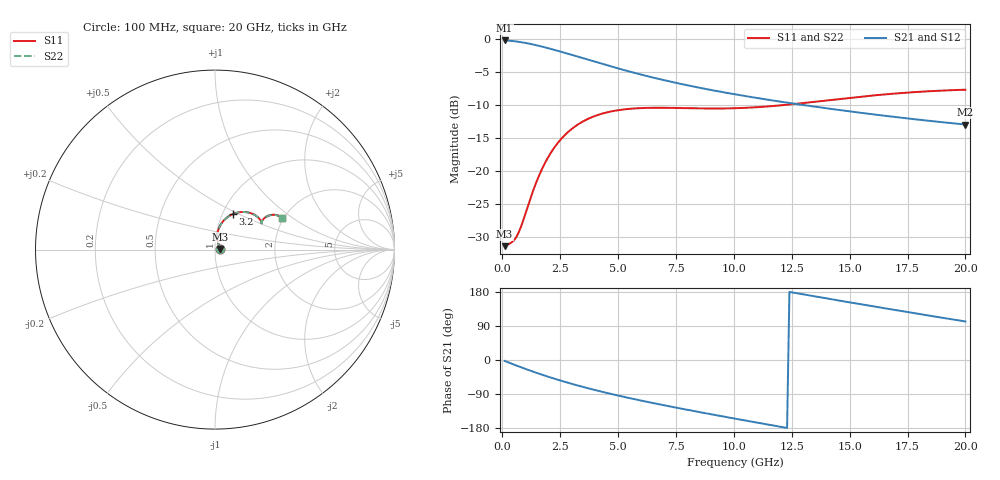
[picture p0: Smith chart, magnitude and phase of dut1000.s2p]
! Touchstone file exported from HFSS 2024.1.0
!  File:  C:/UserFiles/LocalFiles/RDL_TSV_Batchsim/temp_RDL_TSV_1000_1780076409.aedt
!  Generated:  01:56:41 AM May 30, 2026
!  Design:  RDL_TSV
!  Project:  temp_RDL_TSV_1000_1780076409
!  Setup:  Setup1
!  Solution:  Sweep
! Variables:
!  dtsv = 12.37um
!  hbump = 3um
!  htsv = 95.54um
!  ldown = 679.7um
!  lrdl = 346.15um
!  p = 40
!  p1 = 56.97um
!  rhole = 10um
!  subl = 3423.7um
!  t = 450um
!  tdown = 4.09um
!  trdl = 2.32um
!  viad = 10um
!  wdown = 14.18um
!  wrdl = 14.21um
!  xbump = 18um
# GHz S MA R 50.000000
! Terminal data exported
! Port[1] = TM1_1_T1
! Port[2] = TM1_4_T1
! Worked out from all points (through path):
!   200 points, 100 MHz to 20 GHz, reference 50 ohm
!   highest |S21| = -0.24 dB at 100 MHz (marker M1); lowest = -12.9 dB at 20 GHz (marker M2)
!   group delay of S21, straight-line fit = 33.5 ps
!   lowest |S11| = -31.3 dB at 100 MHz (marker M3), VSWR 1.06, Z = 52.8 + j0.389 ohm
!   |S11| at or under -10 dB: start of sweep to 12.18 GHz
!   |S22| runs from -31.3 to -7.7 dB; largest |S21 - S12| = 1.3e-13
!   S11 on the Smith chart (normalised r, x): 100 MHz: 1.06, +0.01; 3.2 GHz: 1.12, +0.47; 20 GHz: 1.95, +0.84
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0.1  0.02711 7.8  0.9725 -2.5  0.9725 -2.5  0.02711 7.8
! Gamma 0 0 0 0
! Port Impedance 50 0 50 0
0.5  0.02999 37.8  0.9606 -12.1  0.9606 -12.1  0.03 37.7
0.7  0.03419 53.7  0.9505 -16.7  0.9505 -16.7  0.03419 53.7
1.2  0.06103 78.0  0.9168 -28.0  0.9168 -28.0  0.06099 78.0
1.6  0.09361 81.4  0.8839 -36.4  0.8839 -36.4  0.09355 81.4
1.9  0.1202 79.8  0.8573 -42.5  0.8573 -42.5  0.1201 79.8
2.3  0.1552 75.4  0.8208 -50.3  0.8208 -50.3  0.1551 75.4
2.7  0.1873 70.1  0.7841 -57.6  0.7841 -57.6  0.1871 70.1
3.2  0.2214 63.3  0.739 -66.3  0.739 -66.3  0.2212 63.3
3.5  0.2384 59.4  0.7129 -71.3  0.7129 -71.3  0.2382 59.4
4.3  0.2717 50.2  0.6481 -83.8  0.6481 -83.8  0.2715 50.2
5.1  0.2905 42.9  0.5912 -95.2  0.5912 -95.2  0.2903 42.8
5.9  0.2992 37.4  0.5423 -105.9  0.5423 -105.9  0.299 37.3
6.8  0.3015 33.1  0.4958 -117.2  0.4958 -117.2  0.3013 33.1
8.4  0.2984 29.7  0.431 -136.2  0.431 -136.2  0.2982 29.7
10.1  0.2992 30.1  0.3796 -155.3  0.3796 -155.3  0.2991 30.0
11.7  0.3108 31.7  0.3417 -172.8  0.3417 -172.8  0.3107 31.6
13.4  0.3332 32.7  0.3089 168.9  0.3089 168.9  0.333 32.6
15  0.3581 32.2  0.2831 152.1  0.2831 152.1  0.3578 32.1
16.7  0.3827 30.5  0.2599 134.6  0.2599 134.6  0.3824 30.4
18.3  0.4007 28.2  0.2415 118.5  0.2415 118.5  0.4003 28.1
20  0.4127 25.5  0.2252 101.6  0.2252 101.6  0.4122 25.4
